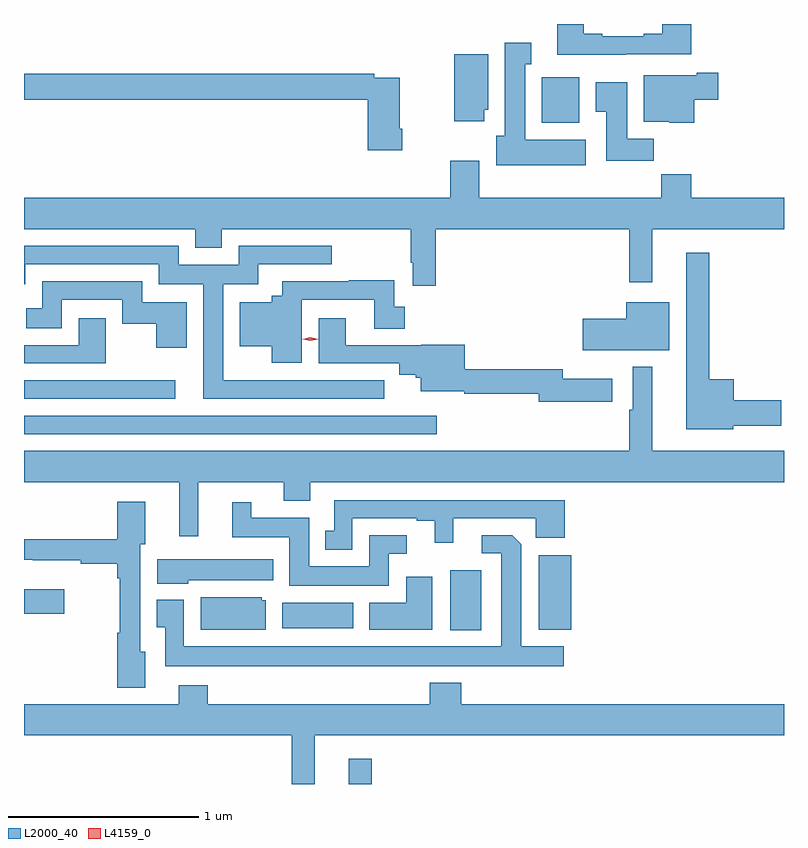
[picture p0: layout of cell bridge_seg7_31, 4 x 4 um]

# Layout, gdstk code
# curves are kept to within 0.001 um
import gdstk
lib = gdstk.Library(unit=1e-6, precision=1e-09)
def R(c, l, rs):  # rectangles x0, y0, x1, y1
    for r in rs: c.add(gdstk.rectangle(r[:2], r[2:], *l))
def P(c, l, *ps):  # polygons
    for p in ps: c.add(gdstk.Polygon(p, *l))
L2000_40 = (2000, 40)
L4159_0 = (4159, 0)

bridge_seg7_31 = lib.new_cell('bridge_seg7_31')
R(bridge_seg7_31, L2000_40, [(1001.285,1053.639,1001.407,1053.772), (1001.819,1054.448,1001.983,1054.765), (1002.284,1054.451,1002.455,1054.843), (1000.935,1054.46,1001.308,1054.594), (999.576,1054.534,999.787,1054.663), (999.576,1055.481,1001.749,1055.577), (1002.302,1057.118,1002.499,1057.36)])
P(bridge_seg7_31, L2000_40, [(1002.743,1057.479),(1003.088,1057.479),(1003.088,1057.639),(1002.935,1057.639),(1002.935,1057.588),(1002.839,1057.588),(1002.839,1057.575),(1002.619,1057.575),(1002.619,1057.588),(1002.523,1057.588),(1002.523,1057.639),(1002.383,1057.639),(1002.383,1057.478),(1002.743,1057.478)],
  [(1002.532,1057.03),(1002.214,1057.03),(1002.214,1057.427),(1002.247,1057.427),(1002.247,1057.54),(1002.107,1057.54),(1002.107,1057.05),(1002.062,1057.05),(1002.062,1056.896),(1002.532,1056.896)],
  [(1001.998,1057.188),(1002.019,1057.188),(1002.019,1057.48),(1001.84,1057.48),(1001.84,1057.128),(1001.998,1057.128)],
  [(1003.103,1057.24),(1003.231,1057.24),(1003.231,1057.382),(1003.118,1057.382),(1003.118,1057.369),(1002.839,1057.369),(1002.839,1057.124),(1002.972,1057.124),(1002.972,1057.118),(1003.103,1057.118)],
  [(1001.567,1057.087),(1001.554,1057.087),(1001.554,1057.356),(1001.42,1057.356),(1001.42,1057.376),(999.576,1057.376),(999.576,1057.24),(1001.384,1057.24),(1001.384,1056.975),(1001.567,1056.975)],
  [(1002.89,1057.036),(1002.751,1057.036),(1002.751,1057.333),(1002.584,1057.333),(1002.584,1057.177),(1002.641,1057.177),(1002.641,1056.918),(1002.89,1056.918)],
  [(1001.971,1056.919),(1001.819,1056.919),(1001.819,1056.724),(999.576,1056.724),(999.576,1056.56),(1000.478,1056.56),(1000.478,1056.461),(1000.618,1056.461),(1000.618,1056.56),(1001.611,1056.56),(1001.611,1056.382),(1001.621,1056.382),(1001.621,1056.261),(1001.743,1056.261),(1001.743,1056.56),(1002.762,1056.56),(1002.762,1056.279),(1002.883,1056.279),(1002.883,1056.56),(1003.576,1056.56),(1003.576,1056.724),(1003.088,1056.724),(1003.088,1056.848),(1002.931,1056.848),(1002.931,1056.724),(1001.971,1056.724)],
  [(1001.473,1055.763),(1000.624,1055.763),(1000.624,1056.269),(1000.81,1056.269),(1000.81,1056.375),(1001.197,1056.375),(1001.197,1056.471),(1000.706,1056.471),(1000.706,1056.373),(1000.39,1056.373),(1000.39,1056.471),(999.576,1056.471),(999.576,1056.269),(999.583,1056.269),(999.583,1056.375),(1000.286,1056.375),(1000.286,1056.269),(1000.52,1056.269),(1000.52,1055.667),(1001.473,1055.667)],
  [(1003.308,1055.525),(1003.561,1055.525),(1003.561,1055.66),(1003.312,1055.66),(1003.312,1055.77),(1003.183,1055.77),(1003.183,1056.436),(1003.061,1056.436),(1003.061,1055.507),(1003.308,1055.507)],
  [(1001.038,1056.189),(1001.42,1056.189),(1001.42,1056.034),(1001.581,1056.034),(1001.581,1056.15),(1001.524,1056.15),(1001.524,1056.29),(1001.284,1056.29),(1001.284,1056.285),(1000.934,1056.285),(1000.934,1056.208),(1000.88,1056.208),(1000.88,1056.175),(1000.712,1056.175),(1000.712,1055.942),(1000.88,1055.942),(1000.88,1055.856),(1001.038,1055.856)],
  [(1000.432,1056.175),(1000.198,1056.175),(1000.198,1056.285),(999.671,1056.285),(999.671,1056.142),(999.588,1056.142),(999.588,1056.038),(999.775,1056.038),(999.775,1056.189),(1000.094,1056.189),(1000.094,1056.061),(1000.271,1056.061),(1000.271,1055.934),(1000.432,1055.934)],
  [(1002.973,1056.175),(1002.746,1056.175),(1002.746,1056.087),(1002.516,1056.087),(1002.516,1055.921),(1002.973,1055.921)],
  [(1002.673,1055.773),(1002.412,1055.773),(1002.412,1055.822),(1001.896,1055.822),(1001.896,1055.95),(1001.667,1055.95),(1001.667,1055.949),(1001.269,1055.949),(1001.269,1056.091),(1001.126,1056.091),(1001.126,1055.853),(1001.552,1055.853),(1001.552,1055.792),(1001.637,1055.792),(1001.637,1055.777),(1001.663,1055.777),(1001.663,1055.706),(1001.892,1055.706),(1001.892,1055.694),(1002.284,1055.694),(1002.284,1055.651),(1002.673,1055.651)],
  [(1000.006,1056.091),(999.863,1056.091),(999.863,1055.949),(999.576,1055.949),(999.576,1055.853),(1000.006,1055.853)],
  [(1000.493,1055.228),(1000.943,1055.228),(1000.943,1055.129),(1001.083,1055.129),(1001.083,1055.228),(1003.576,1055.228),(1003.576,1055.392),(1002.883,1055.392),(1002.883,1055.836),(1002.779,1055.836),(1002.779,1055.609),(1002.762,1055.609),(1002.762,1055.392),(999.576,1055.392),(999.576,1055.228),(1000.394,1055.228),(1000.394,1054.944),(1000.493,1054.944)],
  [(1000.372,1055.764),(1000.102,1055.764),(1000.102,1055.763),(999.576,1055.763),(999.576,1055.667),(1000.372,1055.667)],
  [(1001.304,1055.037),(1001.642,1055.037),(1001.642,1055.025),(1001.738,1055.025),(1001.738,1054.908),(1001.836,1054.908),(1001.836,1055.037),(1002.27,1055.037),(1002.27,1054.934),(1002.422,1054.934),(1002.422,1055.133),(1001.208,1055.133),(1001.208,1054.971),(1001.162,1054.971),(1001.162,1054.871),(1001.304,1054.871)],
  [(1000.213,1054.335),(1000.189,1054.335),(1000.189,1054.902),(1000.213,1054.902),(1000.213,1055.125),(1000.067,1055.125),(1000.067,1054.927),(999.576,1054.927),(999.576,1054.818),(999.622,1054.818),(999.622,1054.817),(999.874,1054.817),(999.874,1054.798),(1000.067,1054.798),(1000.067,1054.721),(1000.079,1054.721),(1000.079,1054.435),(1000.067,1054.435),(1000.067,1054.145),(1000.213,1054.145)],
  [(1001.497,1054.851),(1001.59,1054.851),(1001.59,1054.947),(1001.393,1054.947),(1001.393,1054.786),(1001.077,1054.786),(1001.077,1055.041),(1000.771,1055.041),(1000.771,1055.122),(1000.673,1055.122),(1000.673,1054.937),(1000.973,1054.937),(1000.973,1054.682),(1001.497,1054.682)],
  [(1002.418,1054.363),(1002.193,1054.363),(1002.192,1054.901),(1002.146,1054.947),(1001.985,1054.947),(1001.985,1054.854),(1002.089,1054.854),(1002.089,1054.363),(1000.416,1054.363),(1000.416,1054.609),(1000.274,1054.609),(1000.274,1054.465),(1000.319,1054.465),(1000.319,1054.259),(1002.418,1054.259)],
  [(1000.44,1054.712),(1000.888,1054.712),(1000.888,1054.822),(1000.278,1054.822),(1000.278,1054.694),(1000.44,1054.694)],
  [(1001.725,1054.729),(1001.588,1054.729),(1001.588,1054.594),(1001.393,1054.594),(1001.393,1054.451),(1001.725,1054.451)],
  [(1000.849,1054.605),(1000.827,1054.605),(1000.827,1054.621),(1000.505,1054.621),(1000.505,1054.451),(1000.849,1054.451)],
  [(1001.107,1053.896),(1003.576,1053.896),(1003.576,1054.06),(1001.876,1054.06),(1001.876,1054.171),(1001.711,1054.171),(1001.711,1054.06),(1000.544,1054.06),(1000.544,1054.159),(1000.391,1054.159),(1000.391,1054.06),(999.576,1054.06),(999.576,1053.896),(1000.986,1053.896),(1000.986,1053.639),(1001.107,1053.639)])
P(bridge_seg7_31, L4159_0, [(1001.083,1055.971),(1001.042,1055.981),(1001.042,1055.981),(1001.042,1055.981),(1001.083,1055.991),(1001.124,1055.981),(1001.124,1055.981),(1001.124,1055.981)])

lib.write_gds('bridge_seg7_31.gds')
